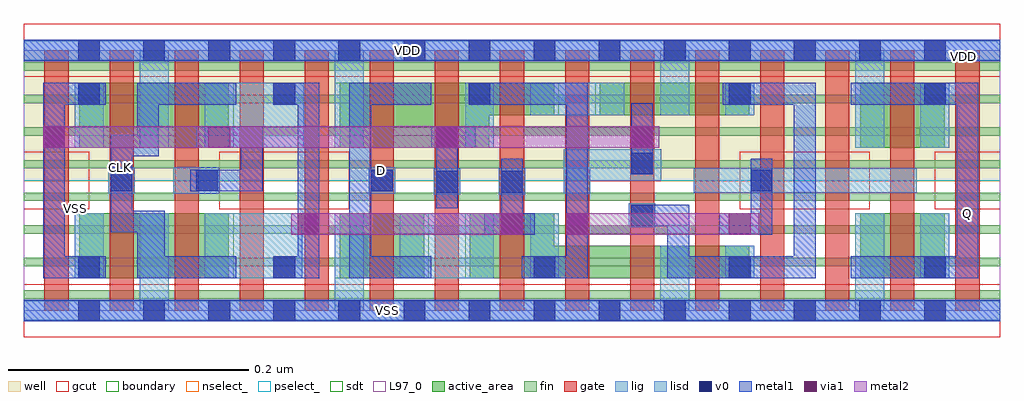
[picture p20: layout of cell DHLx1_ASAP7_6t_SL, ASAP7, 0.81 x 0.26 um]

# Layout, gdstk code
import gdstk
lib = gdstk.Library(unit=1e-6, precision=2.5e-10)
def R(c, l, rs):  # rectangles x0, y0, x1, y1
    for r in rs: c.add(gdstk.rectangle(r[:2], r[2:], *l))
def A(c, l, x, y, w, h, nx, ny, dx, dy):  # array of equal rectangles
    R(c, l, [(x+i*dx, y+j*dy, x+i*dx+w, y+j*dy+h) for i in range(nx) for j in range(ny)])
def P(c, l, *ps):  # polygons
    for p in ps: c.add(gdstk.Polygon(p, *l))
well = (1, 0)
fin = (2, 0)
gate = (7, 0)
gcut = (10, 0)
active_area = (11, 0)
nselect_ = (12, 0)
pselect_ = (13, 0)
lig = (16, 0)
lisd = (17, 0)
v0 = (18, 0)
metal1 = (19, 0)
metal2 = (20, 0)
via1 = (21, 0)
sdt = (88, 0)
L97_0 = (97, 0)
boundary = (100, 0)

dhlx1_asap7_6t_sl = lib.new_cell('DHLx1_ASAP7_6t_SL')
R(dhlx1_asap7_6t_sl, well, [(0,0.108,0.81,0.216)])
A(dhlx1_asap7_6t_sl, fin, 0, 0.01, 0.81, 0.007, 1, 8, 0, 0.027)
A(dhlx1_asap7_6t_sl, gate, 0.017, 0, 0.02, 0.216, 15, 1, 0.054, 0)
R(dhlx1_asap7_6t_sl, gcut, [(0,-0.022,0.81,0.022), (0,0.084,0.054,0.132), (0.162,0.084,0.27,0.132), (0.594,0.084,0.702,0.132), (0.756,0.084,0.81,0.132), (0,0.194,0.81,0.238)])
R(dhlx1_asap7_6t_sl, active_area, [(0.046,0.027,0.17,0.081), (0.262,0.027,0.332,0.081), (0.694,0.027,0.764,0.081), (0.046,0.135,0.17,0.189), (0.694,0.135,0.764,0.189), (0.478,0.162,0.602,0.189)])
P(dhlx1_asap7_6t_sl, active_area, [(0.602,0.054),(0.44,0.054),(0.44,0.081),(0.37,0.081),(0.37,0.027),(0.602,0.027)],
  [(0.44,0.189),(0.262,0.189),(0.262,0.135),(0.386,0.135),(0.386,0.162),(0.44,0.162)])
R(dhlx1_asap7_6t_sl, nselect_, [(0,0,0.81,0.108)])
R(dhlx1_asap7_6t_sl, pselect_, [(0,0.108,0.81,0.216)])
R(dhlx1_asap7_6t_sl, lig, [(0,-0.008,0.81,0.008), (0.502,0.069,0.524,0.089), (0.34,0.096,0.362,0.118), (0.394,0.096,0.416,0.118), (0.07,0.097,0.092,0.119), (0.124,0.097,0.162,0.119), (0.286,0.097,0.308,0.119), (0.448,0.097,0.47,0.119), (0.556,0.098,0.741,0.118), (0,0.208,0.81,0.224)])
R(dhlx1_asap7_6t_sl, lisd, [(0.096,0,0.12,0.081), (0.258,0,0.282,0.081), (0.528,0,0.552,0.054), (0.69,0,0.714,0.081), (0.042,0.027,0.066,0.081), (0.15,0.027,0.231,0.081), (0.312,0.027,0.39,0.081), (0.42,0.027,0.444,0.081), (0.582,0.027,0.606,0.054), (0.744,0.027,0.768,0.081), (0.448,0.108,0.529,0.134), (0.042,0.135,0.066,0.189), (0.096,0.135,0.12,0.216), (0.15,0.135,0.232,0.189), (0.258,0.135,0.282,0.216), (0.366,0.135,0.39,0.189), (0.69,0.135,0.714,0.216), (0.744,0.135,0.768,0.189), (0.42,0.162,0.498,0.189), (0.528,0.162,0.552,0.216), (0.582,0.162,0.606,0.189)])
A(dhlx1_asap7_6t_sl, v0, 0.045, -0.009, 0.018, 0.018, 14, 2, 0.054, 0.216)
A(dhlx1_asap7_6t_sl, v0, 0.423, 0.027, 0.018, 0.018, 3, 1, 0.162, 0)
A(dhlx1_asap7_6t_sl, v0, 0.045, 0.171, 0.018, 0.018, 3, 1, 0.162, 0)
R(dhlx1_asap7_6t_sl, v0, [(0.045,0.027,0.063,0.045), (0.207,0.027,0.225,0.045), (0.504,0.07,0.522,0.088), (0.342,0.098,0.36,0.116), (0.396,0.098,0.414,0.116), (0.072,0.099,0.09,0.117), (0.143,0.099,0.161,0.117), (0.288,0.099,0.306,0.117), (0.603,0.099,0.621,0.117), (0.504,0.113,0.522,0.131), (0.585,0.171,0.603,0.189), (0.747,0.171,0.765,0.189)])
R(dhlx1_asap7_6t_sl, metal1, [(0,-0.009,0.81,0.009), (0.288,0.099,0.306,0.117), (0.504,0.113,0.522,0.172), (0,0.207,0.81,0.225)])
P(dhlx1_asap7_6t_sl, metal1, [(0.198,0.153),(0.143,0.153),(0.143,0.135),(0.18,0.135),(0.18,0.117),(0.138,0.117),(0.138,0.099),(0.198,0.099)],
  [(0.792,0.189),(0.686,0.189),(0.686,0.171),(0.774,0.171),(0.774,0.045),(0.686,0.045),(0.686,0.027),(0.792,0.027)],
  [(0.657,0.189),(0.58,0.189),(0.58,0.171),(0.639,0.171),(0.639,0.045),(0.552,0.045),(0.552,0.088),(0.504,0.088),(0.504,0.07),(0.534,0.07),(0.534,0.027),(0.657,0.027)],
  [(0.621,0.126),(0.603,0.126),(0.603,0.081),(0.577,0.081),(0.577,0.063),(0.621,0.063)],
  [(0.245,0.189),(0.207,0.189),(0.207,0.171),(0.227,0.171),(0.227,0.045),(0.207,0.045),(0.207,0.027),(0.245,0.027)],
  [(0.468,0.189),(0.369,0.189),(0.369,0.171),(0.45,0.171),(0.45,0.045),(0.413,0.045),(0.413,0.027),(0.468,0.027)],
  [(0.424,0.081),(0.414,0.081),(0.414,0.126),(0.396,0.126),(0.396,0.081),(0.382,0.081),(0.382,0.063),(0.424,0.063)],
  [(0.375,0.153),(0.338,0.153),(0.338,0.135),(0.342,0.135),(0.342,0.085),(0.36,0.085),(0.36,0.135),(0.375,0.135)],
  [(0.338,0.189),(0.27,0.189),(0.27,0.027),(0.338,0.027),(0.338,0.045),(0.288,0.045),(0.288,0.171),(0.338,0.171)],
  [(0.176,0.045),(0.117,0.045),(0.117,0.083),(0.09,0.083),(0.09,0.128),(0.112,0.128),(0.112,0.171),(0.176,0.171),(0.176,0.189),(0.094,0.189),(0.094,0.146),(0.072,0.146),(0.072,0.065),(0.094,0.065),(0.094,0.027),(0.176,0.027)],
  [(0.068,0.045),(0.034,0.045),(0.034,0.171),(0.068,0.171),(0.068,0.189),(0.016,0.189),(0.016,0.027),(0.068,0.027)])
R(dhlx1_asap7_6t_sl, metal2, [(0.222,0.063,0.414,0.081), (0.45,0.063,0.61,0.081), (0.016,0.135,0.527,0.153)])
R(dhlx1_asap7_6t_sl, via1, [(0.227,0.063,0.245,0.081), (0.396,0.063,0.414,0.081), (0.45,0.063,0.468,0.081), (0.585,0.063,0.603,0.081), (0.016,0.135,0.034,0.153), (0.153,0.135,0.171,0.153), (0.342,0.135,0.36,0.153), (0.504,0.135,0.522,0.153)])
A(dhlx1_asap7_6t_sl, sdt, 0.042, 0.027, 0.024, 0.054, 3, 2, 0.054, 0.108)
A(dhlx1_asap7_6t_sl, sdt, 0.258, 0.027, 0.024, 0.054, 4, 1, 0.054, 0)
A(dhlx1_asap7_6t_sl, sdt, 0.42, 0.162, 0.024, 0.027, 4, 1, 0.054, 0)
R(dhlx1_asap7_6t_sl, sdt, [(0.528,0.027,0.552,0.054), (0.582,0.027,0.606,0.054), (0.69,0.027,0.714,0.081), (0.744,0.027,0.768,0.081), (0.258,0.135,0.282,0.189), (0.366,0.135,0.39,0.189), (0.69,0.135,0.714,0.189), (0.744,0.135,0.768,0.189)])
R(dhlx1_asap7_6t_sl, L97_0, [(0,0,0.81,0.216)])
R(dhlx1_asap7_6t_sl, boundary, [(0,0,0.81,0.216)])
dhlx1_asap7_6t_sl.add(gdstk.Label('VDD', (0.78,0.211), layer=1, texttype=251))
dhlx1_asap7_6t_sl.add(gdstk.Label('CLK', (0.08,0.119), layer=19, texttype=251))
dhlx1_asap7_6t_sl.add(gdstk.Label('D', (0.297,0.116), layer=19, texttype=251))
dhlx1_asap7_6t_sl.add(gdstk.Label('Q', (0.783,0.081), layer=19, texttype=251))
dhlx1_asap7_6t_sl.add(gdstk.Label('VDD', (0.318,0.216), layer=19, texttype=251))
dhlx1_asap7_6t_sl.add(gdstk.Label('VSS', (0.302,0), layer=19, texttype=251))
dhlx1_asap7_6t_sl.add(gdstk.Label('VSS', (0.043,0.085), layer=3, texttype=251))

lib.write_gds('DHLx1_ASAP7_6t_SL.gds')
